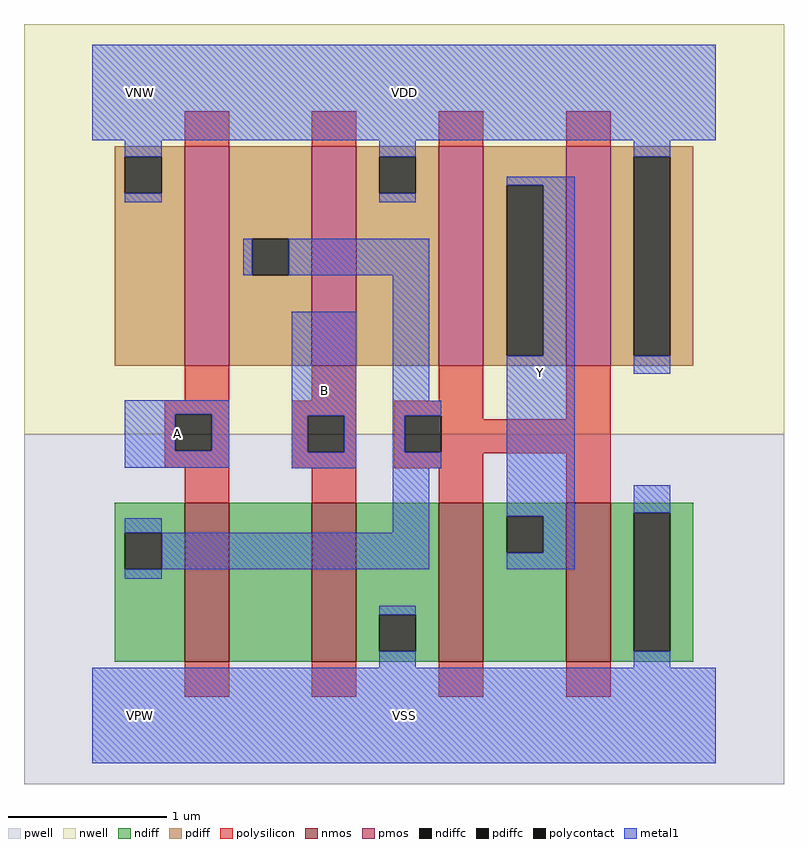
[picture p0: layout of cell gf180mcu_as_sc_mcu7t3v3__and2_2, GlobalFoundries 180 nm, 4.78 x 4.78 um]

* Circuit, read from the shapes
.subckt gf180mcu_as_sc_mcu7t3v3__and2_2 VDD VNW VPW VSS B A Y
XM1 n1 A n2 VPW nfet_03v3 w=1u l=0.28u
XM2 VSS B n1 VPW nfet_03v3 w=1u l=0.28u
XM3 Y n2 VSS VPW nfet_03v3 w=1u l=0.28u m=2
XM4 n2 A VDD VNW pfet_03v3 w=1.38u l=0.28u
XM5 VDD B n2 VNW pfet_03v3 w=1.38u l=0.28u
XM6 Y n2 VDD VNW pfet_03v3 w=1.38u l=0.28u m=2
.ends

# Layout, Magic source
magic
tech gf180mcuD
magscale 1 10
<< nwell >>
rect -86 354 870 870
<< pwell >>
rect -86 -86 870 354
<< nmos >>
rect 116 68 172 268
rect 276 68 332 268
rect 436 68 492 268
rect 596 68 652 268
<< pmos >>
rect 116 440 172 716
rect 276 440 332 716
rect 436 440 492 716
rect 596 440 652 716
<< ndiff >>
rect 28 230 116 268
rect 28 184 41 230
rect 87 184 116 230
rect 28 68 116 184
rect 172 68 276 268
rect 332 127 436 268
rect 332 81 361 127
rect 407 81 436 127
rect 332 68 436 81
rect 492 251 596 268
rect 492 205 521 251
rect 567 205 596 251
rect 492 68 596 205
rect 652 255 756 268
rect 652 81 681 255
rect 727 81 756 255
rect 652 68 756 81
<< pdiff >>
rect 28 703 116 716
rect 28 657 41 703
rect 87 657 116 703
rect 28 440 116 657
rect 172 600 276 716
rect 172 554 201 600
rect 247 554 276 600
rect 172 440 276 554
rect 332 703 436 716
rect 332 657 361 703
rect 407 657 436 703
rect 332 440 436 657
rect 492 667 596 716
rect 492 453 521 667
rect 567 453 596 667
rect 492 440 596 453
rect 652 703 756 716
rect 652 453 681 703
rect 727 453 756 703
rect 652 440 756 453
<< ndiffc >>
rect 41 184 87 230
rect 361 81 407 127
rect 521 205 567 251
rect 681 81 727 255
<< pdiffc >>
rect 41 657 87 703
rect 201 554 247 600
rect 361 657 407 703
rect 521 453 567 667
rect 681 453 727 703
<< polysilicon >>
rect 116 716 172 760
rect 276 716 332 760
rect 436 716 492 760
rect 596 716 652 760
rect 116 397 172 440
rect 91 379 172 397
rect 276 396 332 440
rect 436 396 492 440
rect 91 333 104 379
rect 150 333 172 379
rect 91 312 172 333
rect 116 268 172 312
rect 251 377 332 396
rect 251 331 271 377
rect 317 331 332 377
rect 251 311 332 331
rect 380 377 492 396
rect 380 331 393 377
rect 439 373 492 377
rect 596 373 652 440
rect 439 331 652 373
rect 380 330 652 331
rect 380 311 492 330
rect 276 268 332 311
rect 436 268 492 311
rect 596 268 652 330
rect 116 24 172 68
rect 276 24 332 68
rect 436 24 492 68
rect 596 24 652 68
<< polycontact >>
rect 104 333 150 379
rect 271 331 317 377
rect 393 331 439 377
<< metal1 >>
rect 0 724 784 844
rect 41 703 87 724
rect 41 646 87 657
rect 361 703 407 724
rect 681 703 727 724
rect 361 646 407 657
rect 521 667 607 678
rect 190 554 201 600
rect 247 554 424 600
rect 41 379 172 397
rect 41 333 104 379
rect 150 333 172 379
rect 41 312 172 333
rect 251 377 332 508
rect 251 331 271 377
rect 317 331 332 377
rect 251 311 332 331
rect 378 396 424 554
rect 567 453 607 667
rect 378 377 439 396
rect 378 331 393 377
rect 378 311 439 331
rect 41 230 87 248
rect 378 230 424 311
rect 87 184 424 230
rect 521 251 607 453
rect 681 430 727 453
rect 567 205 607 251
rect 521 184 607 205
rect 681 255 727 290
rect 41 172 87 184
rect 361 127 407 138
rect 361 60 407 81
rect 681 60 727 81
rect 0 -60 784 60
<< labels >>
flabel metal1 s 0 724 784 844 0 FreeSans 400 0 0 0 VDD
port 1 nsew power bidirectional abutment
flabel metal1 s 0 -60 784 60 0 FreeSans 400 0 0 0 VSS
port 4 nsew ground bidirectional abutment
flabel nwell s 10 734 110 834 0 FreeSans 400 0 0 0 VNW
port 2 nsew power bidirectional
flabel pwell s 10 -50 110 50 0 FreeSans 400 0 0 0 VPW
port 3 nsew ground bidirectional
flabel metal1 251 311 332 508 0 FreeSans 200 0 0 0 B
port 5 nsew signal input
flabel metal1 41 312 172 397 0 FreeSans 200 0 0 0 A
port 6 nsew signal input
flabel metal1 521 184 607 678 0 FreeSans 200 0 0 0 Y
port 7 nsew signal output
<< properties >>
string FIXED_BBOX 0 0 784 784
string LEFclass CORE
string LEFsite unithd
string LEFsymmetry X Y
string MASKHINTS_NPLUS -16 -46 800 354
string MASKHINTS_PPLUS -16 354 800 830
<< end >>
